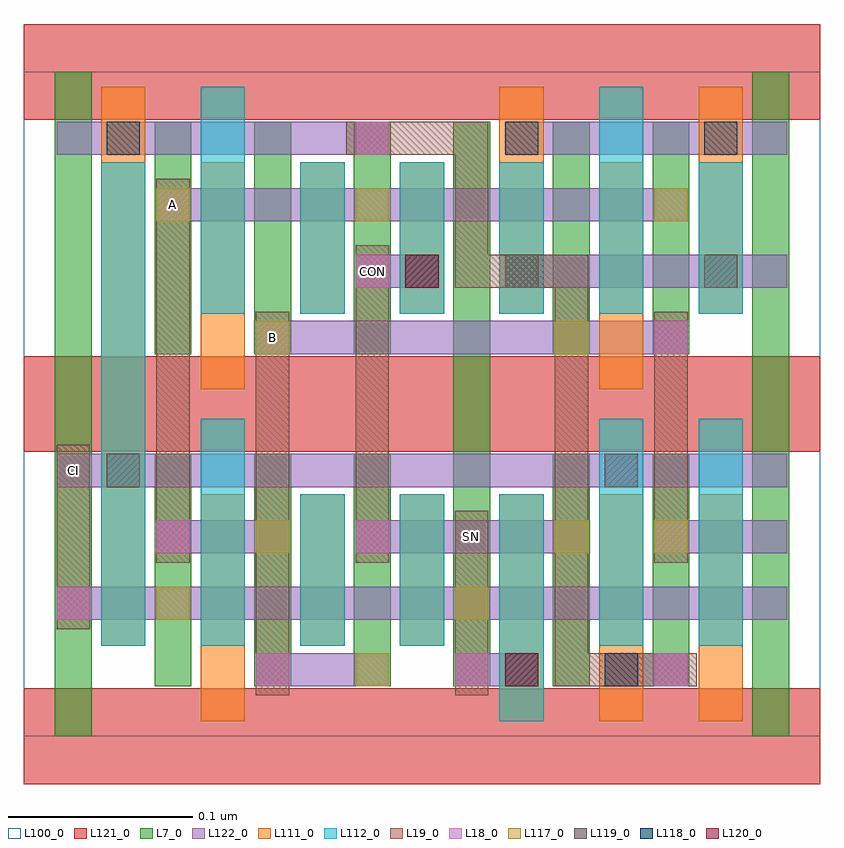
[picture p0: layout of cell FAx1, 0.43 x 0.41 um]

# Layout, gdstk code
import gdstk
lib = gdstk.Library(unit=1e-6, precision=2.5e-10)
def R(c, l, rs):  # rectangles x0, y0, x1, y1
    for r in rs: c.add(gdstk.rectangle(r[:2], r[2:], *l))
def A(c, l, x, y, w, h, nx, ny, dx, dy):  # array of equal rectangles
    R(c, l, [(x+i*dx, y+j*dy, x+i*dx+w, y+j*dy+h) for i in range(nx) for j in range(ny)])
def P(c, l, *ps):  # polygons
    for p in ps: c.add(gdstk.Polygon(p, *l))
L7_0 = (7, 0)
L18_0 = (18, 0)
L19_0 = (19, 0)
L100_0 = (100, 0)
L111_0 = (111, 0)
L112_0 = (112, 0)
L117_0 = (117, 0)
L118_0 = (118, 0)
L119_0 = (119, 0)
L120_0 = (120, 0)
L121_0 = (121, 0)
L122_0 = (122, 0)

fax1 = lib.new_cell('FAx1')
A(fax1, L7_0, 0.071, 0.027, 0.02, 0.126, 3, 2, 0.054, 0.18)
R(fax1, L7_0, [(0.017,0,0.037,0.18), (0.395,0,0.415,0.18), (0.233,0.027,0.253,0.18), (0.287,0.027,0.307,0.153), (0.341,0.027,0.361,0.153), (0.017,0.18,0.037,0.36), (0.233,0.18,0.253,0.333), (0.395,0.18,0.415,0.36), (0.287,0.207,0.307,0.333), (0.341,0.207,0.361,0.333)])
A(fax1, L18_0, 0.126, 0.027, 0.018, 0.018, 3, 1, 0.108, 0)
R(fax1, L18_0, [(0.018,0.063,0.036,0.081), (0.072,0.099,0.09,0.117), (0.18,0.099,0.198,0.117), (0.342,0.099,0.36,0.117), (0.126,0.207,0.144,0.225), (0.342,0.207,0.36,0.225), (0.18,0.243,0.198,0.261), (0.072,0.279,0.09,0.297), (0.18,0.315,0.198,0.333)])
R(fax1, L19_0, [(0.126,0.022,0.144,0.23), (0.234,0.022,0.252,0.122), (0.018,0.058,0.036,0.158), (0.072,0.094,0.09,0.302), (0.18,0.094,0.198,0.266), (0.342,0.094,0.36,0.23)])
P(fax1, L19_0, [(0.175,0.315),(0.234,0.315),(0.234,0.243),(0.288,0.243),(0.288,0.027),(0.365,0.027),(0.365,0.045),(0.306,0.045),(0.306,0.261),(0.252,0.261),(0.252,0.333),(0.175,0.333)])
R(fax1, L100_0, [(0,0,0.432,0.36)])
A(fax1, L111_0, 0.258, 0.008, 0.024, 0.123, 3, 1, 0.054, 0)
R(fax1, L111_0, [(0.096,0.008,0.12,0.131), (0.042,0.049,0.066,0.18), (0.15,0.049,0.174,0.131), (0.204,0.049,0.228,0.131), (0.042,0.18,0.066,0.352), (0.096,0.188,0.12,0.311), (0.312,0.188,0.336,0.311), (0.15,0.229,0.174,0.311), (0.204,0.229,0.228,0.311), (0.258,0.229,0.282,0.352), (0.366,0.229,0.39,0.352)])
A(fax1, L112_0, 0.15, 0.229, 0.024, 0.082, 3, 1, 0.054, 0)
R(fax1, L112_0, [(0.258,0.008,0.282,0.131), (0.042,0.049,0.066,0.18), (0.096,0.049,0.12,0.172), (0.15,0.049,0.174,0.131), (0.204,0.049,0.228,0.131), (0.312,0.049,0.336,0.172), (0.366,0.049,0.39,0.172), (0.042,0.18,0.066,0.311), (0.096,0.229,0.12,0.352), (0.312,0.229,0.336,0.352), (0.366,0.229,0.39,0.311)])
R(fax1, L117_0, [(0.18,0.027,0.198,0.045), (0.072,0.063,0.09,0.081), (0.234,0.063,0.252,0.081), (0.126,0.099,0.144,0.117), (0.288,0.099,0.306,0.117), (0.342,0.099,0.36,0.117), (0.126,0.207,0.144,0.225), (0.288,0.207,0.306,0.225), (0.072,0.279,0.09,0.297), (0.18,0.279,0.198,0.297), (0.342,0.279,0.36,0.297)])
R(fax1, L118_0, [(0.315,0.027,0.333,0.045), (0.045,0.315,0.063,0.333), (0.261,0.315,0.279,0.333), (0.369,0.315,0.387,0.333)])
R(fax1, L119_0, [(0.261,0.027,0.279,0.045), (0.045,0.135,0.063,0.153), (0.315,0.135,0.333,0.153), (0.207,0.243,0.225,0.261), (0.261,0.243,0.279,0.261), (0.369,0.243,0.387,0.261)])
R(fax1, L120_0, [(0.261,0.027,0.279,0.045), (0.207,0.243,0.225,0.261)])
A(fax1, L121_0, 0, -0.026, 0.432, 0.052, 1, 3, 0, 0.18)
R(fax1, L122_0, [(0.126,0.027,0.198,0.045), (0.234,0.027,0.279,0.045), (0.315,0.027,0.36,0.045), (0.018,0.063,0.414,0.081), (0.072,0.099,0.144,0.117), (0.18,0.099,0.306,0.117), (0.342,0.099,0.414,0.117), (0.018,0.135,0.414,0.153), (0.126,0.207,0.36,0.225), (0.18,0.243,0.225,0.261), (0.261,0.243,0.414,0.261), (0.072,0.279,0.36,0.297), (0.018,0.315,0.198,0.333), (0.261,0.315,0.414,0.333)])
fax1.add(gdstk.Label('SN', (0.243,0.108), layer=19, texttype=251))
fax1.add(gdstk.Label('CON', (0.189,0.252), layer=19, texttype=251))
fax1.add(gdstk.Label('CI', (0.027,0.144), layer=19, texttype=251))
fax1.add(gdstk.Label('B', (0.135,0.216), layer=19, texttype=251))
fax1.add(gdstk.Label('A', (0.081,0.288), layer=19, texttype=251))

lib.write_gds('FAx1.gds')
